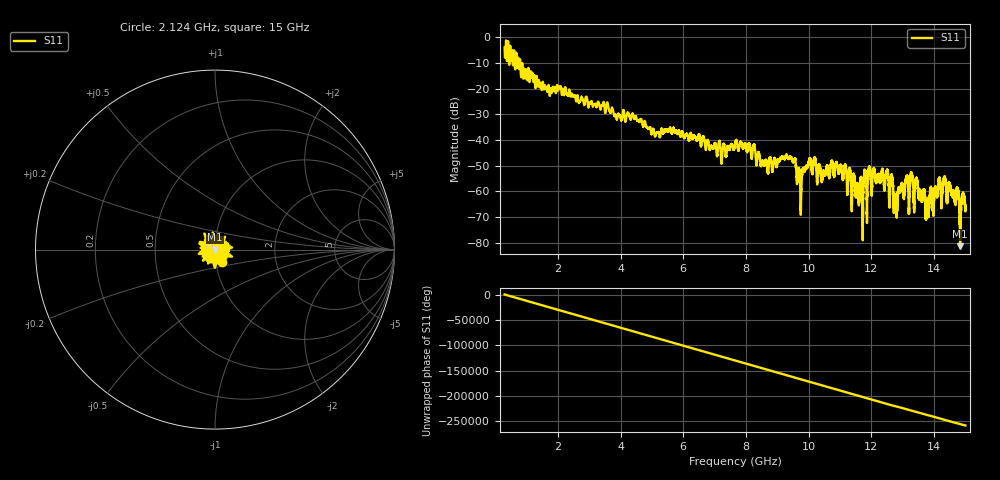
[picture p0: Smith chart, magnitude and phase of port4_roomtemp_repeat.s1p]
# GHZ S RI R 50.0
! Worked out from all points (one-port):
!   12801 points, 300 MHz to 15 GHz, reference 50 ohm
!   lowest |S11| = -81.3 dB at 14.83 GHz (marker M1), VSWR 1.00, Z = 50 - j0.00727 ohm
!   |S11| at or under -10 dB: 745.8 MHz to 782.9 MHz (37.12 MHz wide, 4.86 % of centre); 800.3 MHz to 861.3 MHz (60.95 MHz wide, 7.34 % of centre); 862.9 MHz to end of sweep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
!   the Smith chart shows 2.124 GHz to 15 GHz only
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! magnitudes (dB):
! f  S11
! 300 MHz  -4.0
! 959.2 MHz  -16.0
! 2.138 GHz  -22.2
! 3.975 GHz  -30.6
! 4.427 GHz  -31.4
! 5.131 GHz  -37.6
! 5.812 GHz  -37.6
! 7.263 GHz  -43.0
! 7.65 GHz  -41.6
! 8.654 GHz  -48.3
! 9.488 GHz  -48.3
! 9.7 GHz  -52.4
! 10.02 GHz  -48.1
! 10.46 GHz  -52.6
! 10.94 GHz  -52.6
! 11.32 GHz  -52.2
! 11.66 GHz  -54.6
! 11.95 GHz  -51.1
! 12.49 GHz  -52.5
! 12.78 GHz  -62.0
! 12.92 GHz  -58.9
! 13.16 GHz  -55.9
! 13.46 GHz  -56.1
! 13.78 GHz  -64.4
! 14.33 GHz  -54.5
! 14.73 GHz  -59.3
! 14.83 GHz  -81.3
! 15 GHz  -66.9
